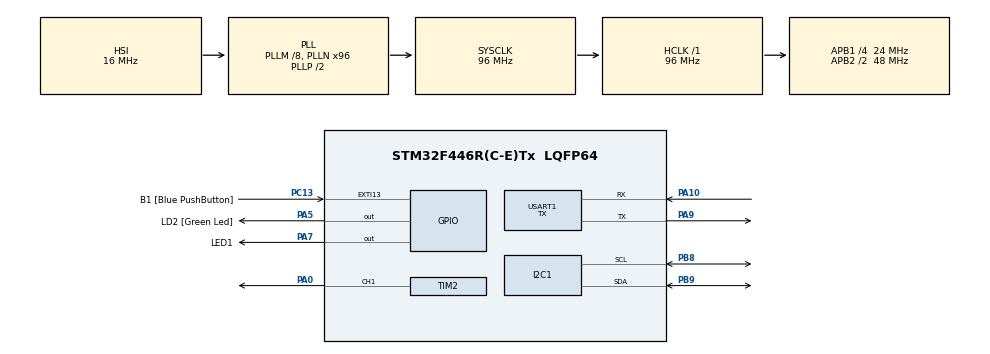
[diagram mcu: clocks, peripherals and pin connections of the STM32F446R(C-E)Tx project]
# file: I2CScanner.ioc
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Dma.Request0=TIM2_CH1
Dma.TIM2_CH1.0.Direction=DMA_PERIPH_TO_MEMORY
Dma.TIM2_CH1.0.FIFOMode=DMA_FIFOMODE_DISABLE
Dma.TIM2_CH1.0.Instance=DMA1_Stream5
Dma.TIM2_CH1.0.MemDataAlignment=DMA_MDATAALIGN_BYTE
Dma.TIM2_CH1.0.MemInc=DMA_MINC_ENABLE
Dma.TIM2_CH1.0.Mode=DMA_CIRCULAR
Dma.TIM2_CH1.0.PeriphDataAlignment=DMA_PDATAALIGN_BYTE
Dma.TIM2_CH1.0.PeriphInc=DMA_PINC_DISABLE
Dma.TIM2_CH1.0.Priority=DMA_PRIORITY_LOW
Mcu.Family=STM32F4
Mcu.Name=STM32F446R(C-E)Tx
Mcu.Package=LQFP64
NVIC.DMA1_Stream5_IRQn=true\:0\:0\:false\:false\:true\:false\:true\:true
NVIC.PriorityGroup=NVIC_PRIORITYGROUP_0
PA0-WKUP.Signal=S_TIM2_CH1_ETR
PA10.Mode=Asynchronous
PA10.Signal=USART1_RX
PA13.GPIO_Label=TMS
PA13.Mode=Serial_Wire
PA13.Signal=SYS_JTMS-SWDIO
PA14.GPIO_Label=TCK
PA14.Mode=Serial_Wire
PA14.Signal=SYS_JTCK-SWCLK
PA2.GPIO_Label=USART_TX
PA2.Signal=USART2_TX
PA3.GPIO_Label=USART_RX
PA3.Signal=USART2_RX
PA5.GPIO_Label=LD2 [Green Led]
PA5.Signal=GPIO_Output
PA7.GPIO_Label=LED1
PA7.Signal=GPIO_Output
PA9.Mode=Asynchronous
PA9.Signal=USART1_TX
PB3.GPIO_Label=SWO
PB3.Signal=SYS_JTDO-SWO
PB8.Mode=I2C
PB8.Signal=I2C1_SCL
PB9.Mode=I2C
PB9.Signal=I2C1_SDA
PC13.GPIO_Label=B1 [Blue PushButton]
PC13.GPIO_ModeDefaultEXTI=GPIO_MODE_IT_FALLING
PC13.Signal=GPXTI13
PC14-OSC32_IN.Signal=RCC_OSC32_IN
PC15-OSC32_OUT.Signal=RCC_OSC32_OUT
PH0-OSC_IN.Signal=RCC_OSC_IN
PH1-OSC_OUT.Signal=RCC_OSC_OUT
ProjectManager.HeapSize=0x200
ProjectManager.StackSize=0x400
ProjectManager.TargetToolchain=STM32CubeIDE
RCC.48MHZClocksFreq_Value=84000000
RCC.AHBFreq_Value=96000000
RCC.APB1CLKDivider=RCC_HCLK_DIV4
RCC.APB1Freq_Value=24000000
RCC.APB1TimFreq_Value=48000000
RCC.APB2CLKDivider=RCC_HCLK_DIV2
RCC.APB2Freq_Value=48000000
RCC.APB2TimFreq_Value=96000000
RCC.CortexFreq_Value=96000000
RCC.FLatency-AdvancedSettings=FLASH_LATENCY_3
RCC.HCLKFreq_Value=96000000
RCC.HSE_VALUE=8000000
RCC.HSI_VALUE=16000000
RCC.PLLM=8
RCC.PLLN=96
RCC.SYSCLKFreq_VALUE=96000000
RCC.SYSCLKSource=RCC_SYSCLKSOURCE_PLLCLK
RCC.USBFreq_Value=96000000
RCC.VCOOutputFreq_Value=192000000
SH.S_TIM2_CH1_ETR.0=TIM2_CH1,PWM Generation1 CH1
TIM2.Channel-PWM\ Generation1\ CH1=TIM_CHANNEL_1
TIM2.Period=60-1
USART1.Mode=MODE_TX
USART1.VirtualMode=VM_ASYNC
VP_TIM2_VS_ClockSourceINT.Mode=Internal
board=NUCLEO-F446RE

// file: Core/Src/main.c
/* USER CODE BEGIN Header */
/**
  ******************************************************************************
  * @file           : main.c
  * @brief          : Main program body
  ******************************************************************************
  * @attention
  *
  * Copyright (c) 2024 STMicroelectronics.
  * All rights reserved.
  *
  * This software is licensed under terms that can be found in the LICENSE file
  * in the root directory of this software component.
  * If no LICENSE file comes with this software, it is provided AS-IS.
  *
  ******************************************************************************
  */
/* USER CODE END Header */
#include "main.h"

/* USER CODE BEGIN Includes */
#include "stdio.h"
/* USER CODE END Includes */

I2C_HandleTypeDef hi2c1;

TIM_HandleTypeDef htim2;
DMA_HandleTypeDef hdma_tim2_ch1;

UART_HandleTypeDef huart1;

/* USER CODE BEGIN PV */
uint8_t Buffer[25] = {0};
uint8_t Space[] = " - ";
uint8_t StartMSG[] = "Starting I2C Scanning: \r\n";
uint8_t EndMSG[] = "Done! \r\n\r\n";
/* USER CODE END PV */

void SystemClock_Config(void);
static void MX_GPIO_Init(void);
static void MX_DMA_Init(void);
static void MX_TIM2_Init(void);
static void MX_USART1_UART_Init(void);
static void MX_I2C1_Init(void);

int main(void)
{

  /* USER CODE BEGIN 1 */
	uint8_t i = 0, ret;
  /* USER CODE END 1 */

  /* MCU Configuration--------------------------------------------------------*/

  /* Reset of all peripherals, Initializes the Flash interface and the Systick. */
  HAL_Init();

  /* Configure the system clock */
  SystemClock_Config();

  /* Initialize all configured peripherals */
  MX_GPIO_Init();
  MX_DMA_Init();
  MX_TIM2_Init();
  MX_USART1_UART_Init();
  MX_I2C1_Init();
  /* USER CODE BEGIN 2 */
  HAL_Delay(1000);

  /*-[ I2C Bus Scanning ]-*/
  HAL_UART_Transmit(&huart1, StartMSG, sizeof(StartMSG), 10000);
  for(i=1; i<128; i++)
  {
      ret = HAL_I2C_IsDeviceReady(&hi2c1, (uint16_t)(i<<1), 3, 5);
      if (ret != HAL_OK) /* No ACK Received At That Address */
      {
          HAL_UART_Transmit(&huart1, Space, sizeof(Space), 10000);
      }
      else if(ret == HAL_OK)
      {
          sprintf(Buffer, "0x%X", i);
          HAL_UART_Transmit(&huart1, Buffer, sizeof(Buffer), 10000);
      }
  }
  HAL_UART_Transmit(&huart1, EndMSG, sizeof(EndMSG), 10000);
  /*--[ Scanning Done ]--*/
  //HAL_UART_Receive_IT(&huart1, pData, Size)
  /* USER CODE END 2 */

  /* Infinite loop */
  while (1)
  {

  }
}

void SystemClock_Config(void)
{
  RCC_OscInitTypeDef RCC_OscInitStruct = {0};
  RCC_ClkInitTypeDef RCC_ClkInitStruct = {0};

  /** Configure the main internal regulator output voltage
  */
  __HAL_RCC_PWR_CLK_ENABLE();
  __HAL_PWR_VOLTAGESCALING_CONFIG(PWR_REGULATOR_VOLTAGE_SCALE3);

  /** Initializes the RCC Oscillators according to the specified parameters
  * in the RCC_OscInitTypeDef structure.
  */
  RCC_OscInitStruct.OscillatorType = RCC_OSCILLATORTYPE_HSI;
  RCC_OscInitStruct.HSIState = RCC_HSI_ON;
  RCC_OscInitStruct.HSICalibrationValue = RCC_HSICALIBRATION_DEFAULT;
  RCC_OscInitStruct.PLL.PLLState = RCC_PLL_ON;
  RCC_OscInitStruct.PLL.PLLSource = RCC_PLLSOURCE_HSI;
  RCC_OscInitStruct.PLL.PLLM = 8;
  RCC_OscInitStruct.PLL.PLLN = 96;
  RCC_OscInitStruct.PLL.PLLP = RCC_PLLP_DIV2;
  RCC_OscInitStruct.PLL.PLLQ = 2;
  RCC_OscInitStruct.PLL.PLLR = 2;
  if (HAL_RCC_OscConfig(&RCC_OscInitStruct) != HAL_OK)
  {
    Error_Handler();
  }

  /** Initializes the CPU, AHB and APB buses clocks
  */
  RCC_ClkInitStruct.ClockType = RCC_CLOCKTYPE_HCLK|RCC_CLOCKTYPE_SYSCLK
                              |RCC_CLOCKTYPE_PCLK1|RCC_CLOCKTYPE_PCLK2;
  RCC_ClkInitStruct.SYSCLKSource = RCC_SYSCLKSOURCE_PLLCLK;
  RCC_ClkInitStruct.AHBCLKDivider = RCC_SYSCLK_DIV1;
  RCC_ClkInitStruct.APB1CLKDivider = RCC_HCLK_DIV4;
  RCC_ClkInitStruct.APB2CLKDivider = RCC_HCLK_DIV2;

  if (HAL_RCC_ClockConfig(&RCC_ClkInitStruct, FLASH_LATENCY_3) != HAL_OK)
  {
    Error_Handler();
  }
}

static void MX_I2C1_Init(void)
{

  hi2c1.Instance = I2C1;
  hi2c1.Init.ClockSpeed = 100000;
  hi2c1.Init.DutyCycle = I2C_DUTYCYCLE_2;
  hi2c1.Init.OwnAddress1 = 0;
  hi2c1.Init.AddressingMode = I2C_ADDRESSINGMODE_7BIT;
  hi2c1.Init.DualAddressMode = I2C_DUALADDRESS_DISABLE;
  hi2c1.Init.OwnAddress2 = 0;
  hi2c1.Init.GeneralCallMode = I2C_GENERALCALL_DISABLE;
  hi2c1.Init.NoStretchMode = I2C_NOSTRETCH_DISABLE;
  if (HAL_I2C_Init(&hi2c1) != HAL_OK)
  {
    Error_Handler();
  }

}

static void MX_TIM2_Init(void)
{

  TIM_ClockConfigTypeDef sClockSourceConfig = {0};
  TIM_MasterConfigTypeDef sMasterConfig = {0};
  TIM_OC_InitTypeDef sConfigOC = {0};

  htim2.Instance = TIM2;
  htim2.Init.Prescaler = 0;
  htim2.Init.CounterMode = TIM_COUNTERMODE_UP;
  htim2.Init.Period = 60-1;
  htim2.Init.ClockDivision = TIM_CLOCKDIVISION_DIV1;
  htim2.Init.AutoReloadPreload = TIM_AUTORELOAD_PRELOAD_DISABLE;
  if (HAL_TIM_Base_Init(&htim2) != HAL_OK)
  {
    Error_Handler();
  }
  sClockSourceConfig.ClockSource = TIM_CLOCKSOURCE_INTERNAL;
  if (HAL_TIM_ConfigClockSource(&htim2, &sClockSourceConfig) != HAL_OK)
  {
    Error_Handler();
  }
  if (HAL_TIM_PWM_Init(&htim2) != HAL_OK)
  {
    Error_Handler();
  }
  sMasterConfig.MasterOutputTrigger = TIM_TRGO_RESET;
  sMasterConfig.MasterSlaveMode = TIM_MASTERSLAVEMODE_DISABLE;
  if (HAL_TIMEx_MasterConfigSynchronization(&htim2, &sMasterConfig) != HAL_OK)
  {
    Error_Handler();
  }
  sConfigOC.OCMode = TIM_OCMODE_PWM1;
  sConfigOC.Pulse = 0;
  sConfigOC.OCPolarity = TIM_OCPOLARITY_HIGH;
  sConfigOC.OCFastMode = TIM_OCFAST_DISABLE;
  if (HAL_TIM_PWM_ConfigChannel(&htim2, &sConfigOC, TIM_CHANNEL_1) != HAL_OK)
  {
    Error_Handler();
  }
  HAL_TIM_MspPostInit(&htim2);

}

static void MX_USART1_UART_Init(void)
{

  huart1.Instance = USART1;
  huart1.Init.BaudRate = 115200;
  huart1.Init.WordLength = UART_WORDLENGTH_8B;
  huart1.Init.StopBits = UART_STOPBITS_1;
  huart1.Init.Parity = UART_PARITY_NONE;
  huart1.Init.Mode = UART_MODE_TX;
  huart1.Init.HwFlowCtl = UART_HWCONTROL_NONE;
  huart1.Init.OverSampling = UART_OVERSAMPLING_16;
  if (HAL_UART_Init(&huart1) != HAL_OK)
  {
    Error_Handler();
  }

}

static void MX_DMA_Init(void)
{

  /* DMA controller clock enable */
  __HAL_RCC_DMA1_CLK_ENABLE();

  /* DMA interrupt init */
  /* DMA1_Stream5_IRQn interrupt configuration */
  HAL_NVIC_SetPriority(DMA1_Stream5_IRQn, 0, 0);
  HAL_NVIC_EnableIRQ(DMA1_Stream5_IRQn);

}

static void MX_GPIO_Init(void)
{
  GPIO_InitTypeDef GPIO_InitStruct = {0};

  /* GPIO Ports Clock Enable */
  __HAL_RCC_GPIOC_CLK_ENABLE();
  __HAL_RCC_GPIOH_CLK_ENABLE();
  __HAL_RCC_GPIOA_CLK_ENABLE();
  __HAL_RCC_GPIOB_CLK_ENABLE();

  /*Configure GPIO pin Output Level */
  HAL_GPIO_WritePin(GPIOA, LD2_Pin|LED1_Pin, GPIO_PIN_RESET);

  /*Configure GPIO pin : B1_Pin */
  GPIO_InitStruct.Pin = B1_Pin;
  GPIO_InitStruct.Mode = GPIO_MODE_IT_FALLING;
  GPIO_InitStruct.Pull = GPIO_NOPULL;
  HAL_GPIO_Init(B1_GPIO_Port, &GPIO_InitStruct);

  /*Configure GPIO pins : USART_TX_Pin USART_RX_Pin */
  GPIO_InitStruct.Pin = USART_TX_Pin|USART_RX_Pin;
  GPIO_InitStruct.Mode = GPIO_MODE_AF_PP;
  GPIO_InitStruct.Pull = GPIO_NOPULL;
  GPIO_InitStruct.Speed = GPIO_SPEED_FREQ_VERY_HIGH;
  GPIO_InitStruct.Alternate = GPIO_AF7_USART2;
  HAL_GPIO_Init(GPIOA, &GPIO_InitStruct);

  /*Configure GPIO pins : LD2_Pin LED1_Pin */
  GPIO_InitStruct.Pin = LD2_Pin|LED1_Pin;
  GPIO_InitStruct.Mode = GPIO_MODE_OUTPUT_PP;
  GPIO_InitStruct.Pull = GPIO_NOPULL;
  GPIO_InitStruct.Speed = GPIO_SPEED_FREQ_LOW;
  HAL_GPIO_Init(GPIOA, &GPIO_InitStruct);

}

void Error_Handler(void)
{
  __disable_irq();
  while (1)
  {
  }
}
